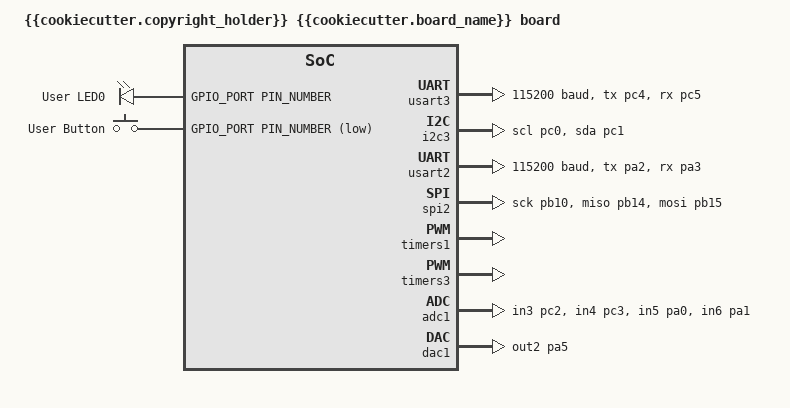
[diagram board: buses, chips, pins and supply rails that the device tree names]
/*
 * Copyright (c) {{cookiecutter.copyright_year}} {{cookiecutter.copyright_holder}}
 * SPDX-License-Identifier: Apache-2.0
 */

/dts-v1/;
#include <path/to/soc.dtsi> // from "zephyr/dts/type_of_soc/" folder, example: <st/l4/stm32l4a6Xg.dtsi>
#include <path/to/soc-pinctrl.dtsi> // from "modules/hal/type_of_soc/dts" folder, example: <st/l4/stm32l4a6rgtx-pinctrl.dtsi>
#include "sixtron_connector.dtsi"

/ {
	model = "{{cookiecutter.copyright_holder}} {{cookiecutter.board_name}} board";
	compatible = "{{cookiecutter.__copyright_holder_lower}},{{cookiecutter.__board_name_lower_dash}}";

	chosen {
		zephyr,console = &UART_OBJECT;
		zephyr,shell-uart = &UART_OBJECT;
		zephyr,sram = &sram0;
		zephyr,flash = &flash0;
	};

	leds {
		compatible = "gpio-leds";
		led_0: led_0 {
			gpios = <&GPIO_PORT PIN_NUMBER GPIO_ACTIVE_HIGH>;
			label = "User LED0";
		};
	};

	gpio_keys {
		compatible = "gpio-keys";
		user_button: button {
			label = "User Button";
			gpios = <&GPIO_PORT PIN_NUMBER GPIO_ACTIVE_LOW>;
		};
	};

	aliases {
		led0 = &led_0;
		sw0 = &user_button;
	};
};

&clk_hsi {
	status = "okay";
};

&pll {
	div-m = <1>;
	mul-n = <10>;
	div-p = <7>;
	div-q = <2>;
	div-r = <2>;
	clocks = <&clk_hsi>;
	status = "okay";
};

&rcc {
	clocks = <&pll>;
	clock-frequency = <DT_FREQ_M(80)>;
	ahb-prescaler = <1>;
	apb1-prescaler = <1>;
	apb2-prescaler = <1>;
};

&usart3 {
	pinctrl-0 = <&usart3_tx_pc4 &usart3_rx_pc5>;
	pinctrl-names = "default";
	current-speed = <115200>;
	status = "okay";
};

&i2c3 {
	pinctrl-0 = <&i2c3_scl_pc0 &i2c3_sda_pc1>;
	pinctrl-names = "default";
	status = "okay";
};

&usart2 {
	pinctrl-0 = <&usart2_tx_pa2 &usart2_rx_pa3>;
	pinctrl-names = "default";
	current-speed = <115200>;
	status = "okay";
};

&spi2 {
	pinctrl-0 = <&spi2_sck_pb10 &spi2_miso_pb14 &spi2_mosi_pb15>;
	pinctrl-names = "default";
	cs-gpios = <&gpiob 2 GPIO_ACTIVE_LOW>;
	status = "okay";
};

&timers1 {
	status = "okay";

	pwm1: pwm {
		pinctrl-0 = <&tim1_ch3_pa10>;
		pinctrl-names = "default";
		status = "okay";
	};

	pwm2: pwm {
		pinctrl-0 = <&tim1_ch2_pa9>;
		pinctrl-names = "default";
		status = "okay";
	};
};

&timers3 {
	status = "okay";

	pwm3: pwm {
		pinctrl-0 = <&tim3_ch3_pb0>;
		pinctrl-names = "default";
		status = "okay";
	};
};

&adc1 {
	pinctrl-0 = <&adc1_in3_pc2 &adc1_in4_pc3 &adc1_in5_pa0 &adc1_in6_pa1>;
	pinctrl-names = "default";
	st,adc-clock-source = <SYNC>;
	st,adc-prescaler = <4>;
	status = "okay";
};

&dac1 {
	pinctrl-0 = <&dac1_out2_pa5>;
	pinctrl-names = "default";
	status = "okay";
};
